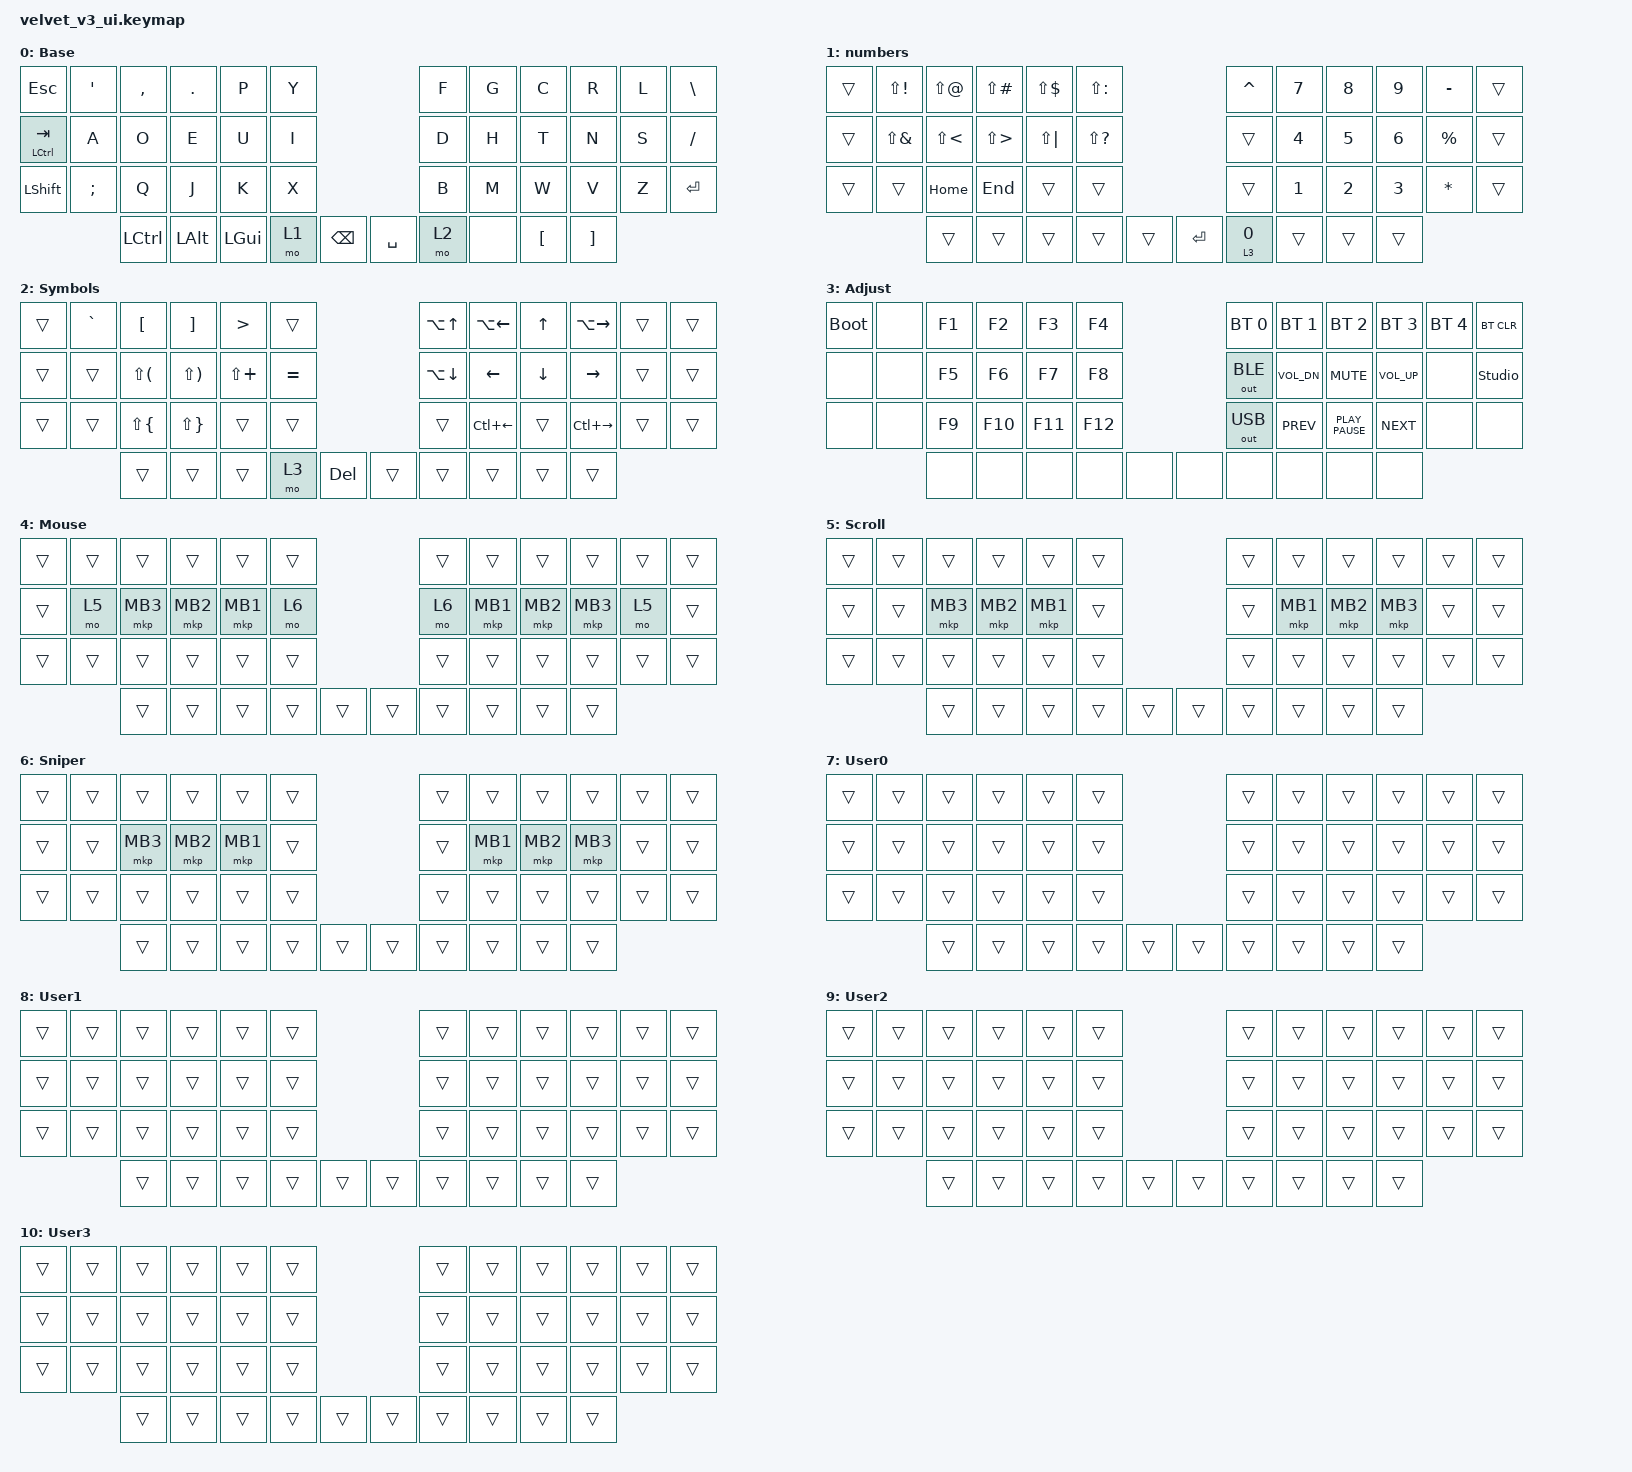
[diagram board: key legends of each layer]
#include "keys_ru.h"
#include <dt-bindings/zmk/input_transform.h>
#include <input/processors.dtsi>
#include <zephyr/dt-bindings/input/input-event-codes.h>
#include <behaviors.dtsi>
#include <dt-bindings/zmk/bt.h>
#include <dt-bindings/zmk/keys.h>
#include <dt-bindings/zmk/outputs.h>
#include <dt-bindings/zmk/pointing.h>

/ {
    behaviors {
        cap_sen: cap_sen {
            compatible = "zmk,behavior-hold-tap";
            label = "CAP_SEN";
            bindings = <&mo>, <&mkp>;

            #binding-cells = <2>;
            tapping-term-ms = <150>;
            hold-while-undecided;
        };

        mouse_layer: mouse_layer {
            compatible = "zmk,behavior-sticky-key";
            label = "MOUSE_LAYER";
            bindings = <&mo>;
            #binding-cells = <1>;
            release-after-ms = <200>;
        };

        zip_auto_mouse: zip_auto_mouse {
            compatible = "zmk,input-processor-temp-layer";
            #input-processor-cells = <2>;
            require-prior-idle-ms = <800>;
            excluded-positions = <>;
        };
    };

    keymap {
        compatible = "zmk,keymap";

        base {
            bindings = <
&kp ESC        &kp SQT   &kp COMMA  &kp DOT   &kp P     &kp Y                              &kp F  &kp G  &kp C     &kp R     &kp L  &kp BACKSLASH
&mt LCTRL TAB  &kp A     &kp O      &kp E     &kp U     &kp I                              &kp D  &kp H  &kp T     &kp N     &kp S  &kp FSLH
&kp LSHFT      &kp SEMI  &kp Q      &kp J     &kp K     &kp X                              &kp B  &kp M  &kp W     &kp V     &kp Z  &kp ENTER
                         &kp LCTRL  &kp LALT  &kp LGUI  &mo 1  &kp BACKSPACE    &kp SPACE  &mo 2  &none  &kp LBKT  &kp RBKT
            >;

            display-name = "Base";
        };

        nav {
            bindings = <
&trans  &kp LS(EXCL)  &kp LS(AT)  &kp LS(POUND)  &kp LS(DLLR)  &kp LS(COLON)                       &kp CARET       &kp N7        &kp N8        &kp N9        &kp MINUS  &trans
&trans  &kp LS(AMPS)  &kp LS(LT)  &kp LS(GT)     &kp LS(PIPE)  &kp LS(QMARK)                       &trans          &kp NUMBER_4  &kp NUMBER_5  &kp N6        &kp PRCNT  &trans
&trans  &trans        &kp HOME    &kp END        &trans        &trans                              &trans          &kp N1        &kp NUMBER_2  &kp NUMBER_3  &kp ASTRK  &trans
                      &trans      &trans         &trans        &trans         &trans    &kp ENTER  &lt 3 NUMBER_0  &trans        &trans        &trans
            >;

            display-name = "numbers";
        };

        sym {
            bindings = <
&trans  &kp GRAVE  &kp LBKT      &kp RBKT      &kp GT        &trans                           &kp LA(UP)    &kp LA(LEFT)  &kp UP    &kp LA(RIGHT)  &trans  &trans
&trans  &trans     &kp LS(LPAR)  &kp LS(RPAR)  &kp LS(PLUS)  &kp EQUAL                        &kp LA(DOWN)  &kp LEFT      &kp DOWN  &kp RIGHT      &trans  &trans
&trans  &trans     &kp LS(LBRC)  &kp LS(RBRC)  &trans        &trans                           &trans        &kp LC(LEFT)  &trans    &kp LC(RIGHT)  &trans  &trans
                   &trans        &trans        &trans        &mo 3      &kp DELETE    &trans  &trans        &trans        &trans    &trans
            >;

            display-name = "Symbols";
        };

        adj {
            bindings = <
&bootloader  &none  &kp F1  &kp F2   &kp F3   &kp F4                   &bt BT_SEL 0  &bt BT_SEL 1  &bt BT_SEL 2      &bt BT_SEL 3  &bt BT_SEL 4  &bt BT_CLR
&none        &none  &kp F5  &kp F6   &kp F7   &kp F8                   &out OUT_BLE  &kp C_VOL_DN  &kp K_MUTE        &kp C_VOL_UP  &none         &studio_unlock
&none        &none  &kp F9  &kp F10  &kp F11  &kp F12                  &out OUT_USB  &kp K_PREV    &kp K_PLAY_PAUSE  &kp K_NEXT    &none         &none
                    &none   &none    &none    &none    &none    &none  &none         &none         &none             &none
            >;

            display-name = "Adjust";
        };

        mouse {
            bindings = <
&trans  &trans  &trans    &trans    &trans    &trans                    &trans  &trans    &trans    &trans    &trans  &trans
&trans  &mo 5   &mkp MB3  &mkp MB2  &mkp MB1  &mo 6                     &mo 6   &mkp MB1  &mkp MB2  &mkp MB3  &mo 5   &trans
&trans  &trans  &trans    &trans    &trans    &trans                    &trans  &trans    &trans    &trans    &trans  &trans
                &trans    &trans    &trans    &trans  &trans    &trans  &trans  &trans    &trans    &trans
            >;

            display-name = "Mouse";
        };

        scroll {
            bindings = <
&trans  &trans  &trans    &trans    &trans    &trans                    &trans  &trans    &trans    &trans    &trans  &trans
&trans  &trans  &mkp MB3  &mkp MB2  &mkp MB1  &trans                    &trans  &mkp MB1  &mkp MB2  &mkp MB3  &trans  &trans
&trans  &trans  &trans    &trans    &trans    &trans                    &trans  &trans    &trans    &trans    &trans  &trans
                &trans    &trans    &trans    &trans  &trans    &trans  &trans  &trans    &trans    &trans
            >;

            display-name = "Scroll";
        };

        sniper {
            bindings = <
&trans  &trans  &trans    &trans    &trans    &trans                    &trans  &trans    &trans    &trans    &trans  &trans
&trans  &trans  &mkp MB3  &mkp MB2  &mkp MB1  &trans                    &trans  &mkp MB1  &mkp MB2  &mkp MB3  &trans  &trans
&trans  &trans  &trans    &trans    &trans    &trans                    &trans  &trans    &trans    &trans    &trans  &trans
                &trans    &trans    &trans    &trans  &trans    &trans  &trans  &trans    &trans    &trans
            >;

            display-name = "Sniper";
        };

        User0 {
            bindings = <
&trans  &trans  &trans  &trans  &trans  &trans                    &trans  &trans  &trans  &trans  &trans  &trans
&trans  &trans  &trans  &trans  &trans  &trans                    &trans  &trans  &trans  &trans  &trans  &trans
&trans  &trans  &trans  &trans  &trans  &trans                    &trans  &trans  &trans  &trans  &trans  &trans
                &trans  &trans  &trans  &trans  &trans    &trans  &trans  &trans  &trans  &trans
            >;

            display-name = "User0";
        };

        User1 {
            bindings = <
&trans  &trans  &trans  &trans  &trans  &trans                    &trans  &trans  &trans  &trans  &trans  &trans
&trans  &trans  &trans  &trans  &trans  &trans                    &trans  &trans  &trans  &trans  &trans  &trans
&trans  &trans  &trans  &trans  &trans  &trans                    &trans  &trans  &trans  &trans  &trans  &trans
                &trans  &trans  &trans  &trans  &trans    &trans  &trans  &trans  &trans  &trans
            >;

            display-name = "User1";
        };

        User2 {
            bindings = <
&trans  &trans  &trans  &trans  &trans  &trans                    &trans  &trans  &trans  &trans  &trans  &trans
&trans  &trans  &trans  &trans  &trans  &trans                    &trans  &trans  &trans  &trans  &trans  &trans
&trans  &trans  &trans  &trans  &trans  &trans                    &trans  &trans  &trans  &trans  &trans  &trans
                &trans  &trans  &trans  &trans  &trans    &trans  &trans  &trans  &trans  &trans
            >;

            display-name = "User2";
        };

        User3 {
            bindings = <
&trans  &trans  &trans  &trans  &trans  &trans                    &trans  &trans  &trans  &trans  &trans  &trans
&trans  &trans  &trans  &trans  &trans  &trans                    &trans  &trans  &trans  &trans  &trans  &trans
&trans  &trans  &trans  &trans  &trans  &trans                    &trans  &trans  &trans  &trans  &trans  &trans
                &trans  &trans  &trans  &trans  &trans    &trans  &trans  &trans  &trans  &trans
            >;

            display-name = "User3";
        };
    };
};

&trackball { cpi = <800>; };

&trackball_listener {
    input-processors = <&zip_auto_mouse 4 500>, <&zip_xy_scaler 9 20>;

    scroller {
        layers = <5>;
        input-processors =
            <&zip_xy_transform INPUT_TRANSFORM_Y_INVERT>,
            <&zip_xy_scaler 1 64>,
            <&zip_xy_to_scroll_mapper>;
    };

    sniper {
        layers = <6>;
        input-processors = <&zip_xy_scaler 1 4>;
    };
};
